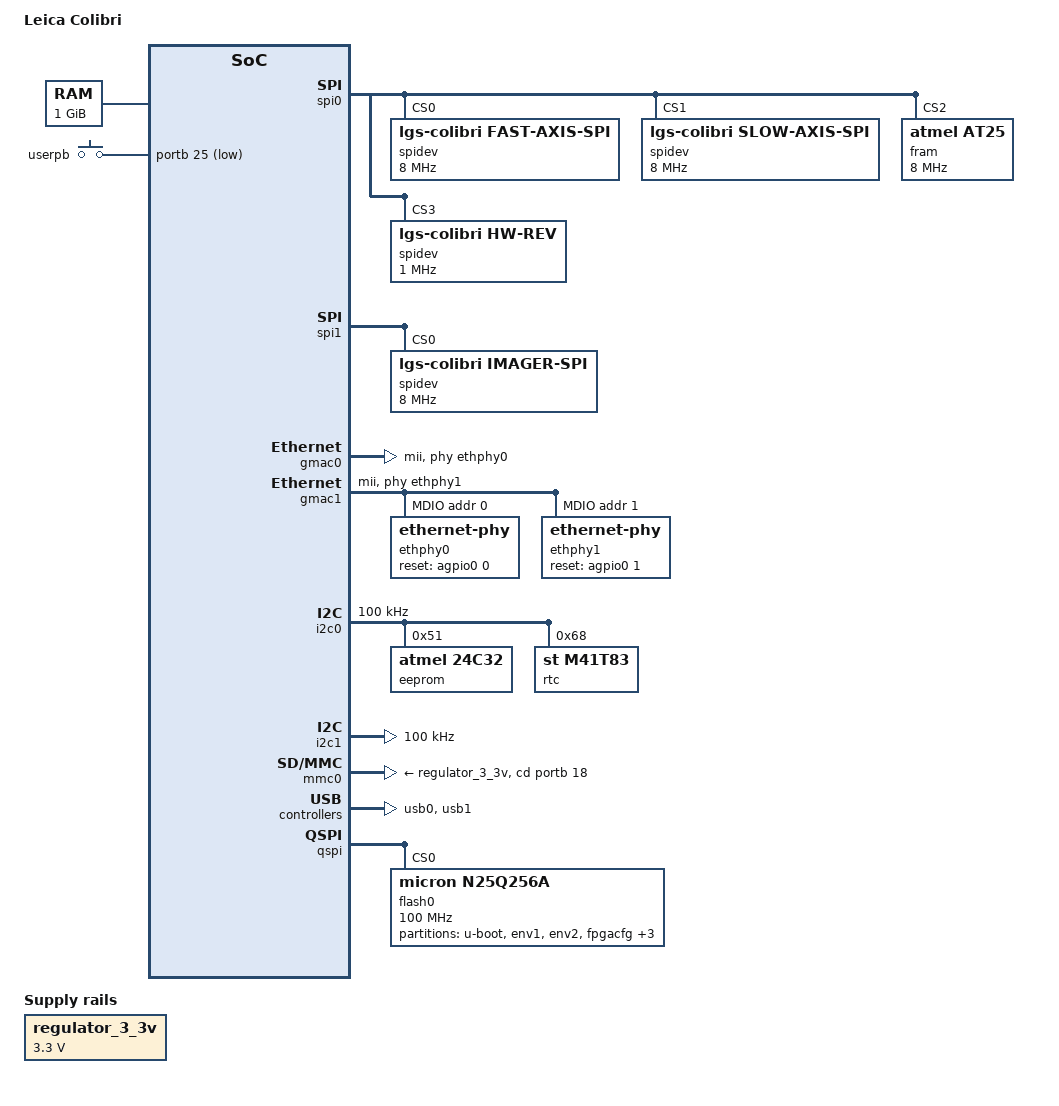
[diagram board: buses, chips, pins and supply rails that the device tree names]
/*
 *  Copyright (C) 2012 Altera Corporation <www.altera.com>
 *
 * This program is free software; you can redistribute it and/or modify
 * it under the terms of the GNU General Public License as published by
 * the Free Software Foundation; either version 2 of the License, or
 * (at your option) any later version.
 *
 * This program is distributed in the hope that it will be useful,
 * but WITHOUT ANY WARRANTY; without even the implied warranty of
 * MERCHANTABILITY or FITNESS FOR A PARTICULAR PURPOSE.  See the
 * GNU General Public License for more details.
 *
 * You should have received a copy of the GNU General Public License
 * along with this program.  If not, see <http://www.gnu.org/licenses/>.
 */

#include "socfpga_cyclone5.dtsi"

/ {
	model = "Leica Colibri";
	compatible = "altr,socfpga-cyclone5", "altr,socfpga";

	chosen {
		bootargs = "earlyprintk";
		stdout-path = "serial1:115200n8";
	};

	memory {
		name = "memory";
		device_type = "memory";
		reg = <0x0 0x40000000>; /* 1GB */
	};

	aliases {
		/* this allow the ethaddr uboot environmnet variable contents
		 * to be added to the gmac1 device tree blob.
		 */
		ethernet0 = &gmac0;
		ethernet1 = &gmac1;
	};

	regulator_3_3v: 3-3-v-regulator {
		compatible = "regulator-fixed";
		regulator-name = "3.3V";
		regulator-min-microvolt = <3300000>;
		regulator-max-microvolt = <3300000>;
	};

	sysid_qsys: sysid@0xff210000 {
		compatible = "altr,sysid-1.0";
		reg = < 0xff210000 0x00000008 >;
	};

	agpio0: gpio@ff210020 {
		status = "disabled";
		compatible = "altr,pio-1.0";
		reg = <0xff210020 0x20>;
		interrupts = <0 44 1>;	/* edge triggered */
		width=<32>;
		#gpio-cells = <2>;
		gpio-controller;
		#interrupt-cells = <1>;
		interrupt-controller;
		altr,interrupt_type = <1>;	/* rising edge */
	};

	gpio-keys {
		status = "okay";
		compatible = "gpio-keys";
		#address-cells = <1>;
		#size-cells = <0>;

		user-button {
			label = "userpb";
			/* button, HPS_GPIO54, gpio1 25, active low */
			gpios = <&portb 25 1>;
			/* BTN_MISC */
			linux,code = <0x100>;
		};
	};

	soc {
		spi0: spi@fff00000 {
			status = "okay";

			spidev@0 {
				compatible = "lgs-colibri,fast-axis-spi", "spidev";
				reg = <0>;
			        spi-max-frequency = <8000000>;
			};
			spidev@1 {
				compatible = "lgs-colibri,slow-axis-spi", "spidev";
				reg = <1>;
			        spi-max-frequency = <8000000>;
			};

			fram@0 {
			    compatible = "atmel,at25", "cypress,fm25l16b";
			    reg = <0x2>;	/* chip select */
			    spi-max-frequency = <8000000>;

			    pagesize = <256>;
			    size = <2048>;
			    address-width = <16>;
			};

			spidev@2 {
				compatible = "lgs-colibri,hw-rev", "spidev";
				reg = <3>;
			        spi-max-frequency = <1000000>;
			};
		};

		spi1: spi@fff01000 {
			status = "okay";

			spidev@0 {
				compatible = "lgs-colibri,imager-spi", "spidev";
				reg = <0>;
				spi-max-frequency = <8000000>;
			};

		};
	};
};


&fpgamgr0 {
	compatible = "altr,socfpga-fpga-mgr", "simple-bus";
	#address-cells = <0x1>;
	#size-cells = <0x1>;
	ranges;

	bridge@0 {
		compatible = "altr,socfpga-lwhps2fpga-bridge", "simple-bus";
		resets = <&rst LWHPS2FPGA_RESET>;
		label = "lwhps2fpga";
		reset-names = "lwhps2fpga";
		clocks = <&l4_main_clk>;
		#address-cells = <0x1>;
		#size-cells = <0x1>;
		ranges;
	};

	bridge@1 {
		compatible = "altr,socfpga-hps2fpga-bridge", "simple-bus";
		resets = <&rst HPS2FPGA_RESET>;
		label = "hps2fpga";
		reset-names = "hps2fpga";
		clocks = <&l4_main_clk>;
		#address-cells = <0x1>;
		#size-cells = <0x1>;
		ranges;
	};

	bridge@2 {
		compatible = "altr,socfpga-fpga2hps-bridge", "simple-bus";
		resets = <&rst FPGA2HPS_RESET>;
		label = "fpga2hps";
		reset-names = "fpga2hps";
		clocks = <&l4_main_clk>;
		#address-cells = <0x1>;
		#size-cells = <0x1>;
		ranges;
	};
};

&gmac0 {
	status = "okay";
	phy-mode = "mii";
	snps,phy-addr = <0x00>;
	phy-handle = <&ethphy0>;
};

&gmac1 {
	status = "okay";
	phy-mode = "mii";
	snps,phy-addr = <0x01>;

	rxd0-skew-ps = <0>;
	rxd1-skew-ps = <0>;
	rxd2-skew-ps = <0>;
	rxd3-skew-ps = <0>;
	txen-skew-ps = <0>;
	txc-skew-ps = <2600>;
	rxdv-skew-ps = <0>;
	rxc-skew-ps = <2000>;
	snps,max-mtu = <3800>;

	phy-handle = <&ethphy1>;

	mdio {
		compatible = "snps,dwmac-mdio";
		#address-cells = <1>;
		#size-cells = <0>;

		ethphy0: ethernet-phy@0 {
			reg = <0>;
			reset-gpios = <&agpio0 0 0>;
		};

		ethphy1: ethernet-phy@1 {
			reg = <1>;
			reset-gpios = <&agpio0 1 0>;
		};
	};
};

&gpio0 {
	status = "okay";
};

&gpio1 {
	status = "okay";
};

&gpio2 {
	status = "okay";
};

&i2c0 {
	status = "okay";
	speed-mode = <0>;
	clock-frequency = <100000>;

	eeprom@51 {
		compatible = "atmel,24c32";
		reg = <0x51>;
		pagesize = <32>;
	};

	rtc@68 {
		compatible = "st,m41t83";
		reg = <0x68>;
	};
};

&i2c1 {
	status = "okay";
	speed-mode = <0>;
	clock-frequency = <100000>;
};

&mmc0 {
	cd-gpios = <&portb 18 0>;
	vmmc-supply = <&regulator_3_3v>;
	vqmmc-supply = <&regulator_3_3v>;

	altr,dw-mshc-ciu-div = <3>;
	altr,dw-mshc-sdr-timing = <0 3>;
};

&usb0 {
	status = "okay";
};

&usb1 {
	status = "okay";
};

&qspi {
	status = "okay";

	flash0: n25q256a@0 {
		#address-cells = <1>;
		#size-cells = <1>;
		compatible = "micron,n25q256a", "jedec,spi-nor";
		reg = <0>;      /* chip select */
		spi-max-frequency = <100000000>;
		m25p,fast-read;
		page-size = <256>;
		block-size = <16>; /* 2^16, 64KB */

		cdns,page-size = <256>;
		cdns,block-size = <16>;
		cdns,read-delay = <4>;
		cdns,tshsl-ns = <50>;
		cdns,tsd2d-ns = <50>;
		cdns,tchsh-ns = <4>;
		cdns,tslch-ns = <4>;

		partition@qspi-boot {
			label = "u-boot";
			reg = <0x0 0x100000>;
		};

		partition@qspi-env1 {
			label = "env1";
			reg = <0x100000 0x10000>;
		};

		partition@qspi-env2 {
			label = "env2";
			reg = <0x110000 0x10000>;
		};

		partition@qspi-fpga {
			label = "fpgacfg";
			reg = <0x120000 0x800000>;
		};

		partition@qspi-recovery {
			label = "recovery";
			reg = <0x920000 0xa00000>;
		};

		partition@qspi-sysdata {
			label = "sysdata";
			reg = <0x1320000 0x800000>;
		};
		partition@qspi-reserved {
			label = "reserved";
			reg = <0x1b20000 0x4e0000>;
		};
	};
};
